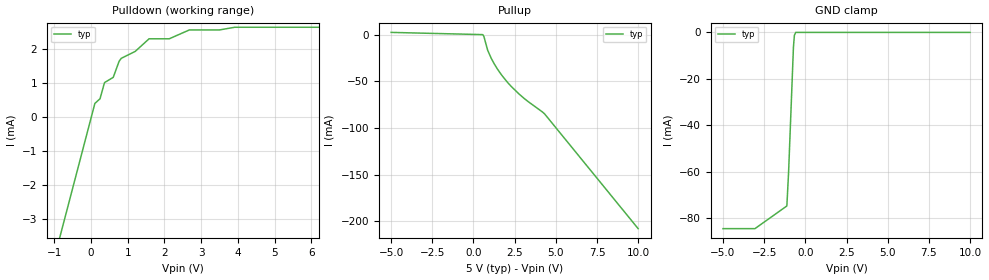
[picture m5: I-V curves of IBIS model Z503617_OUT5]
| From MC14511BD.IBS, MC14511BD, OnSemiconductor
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| (C) COPYRIGHT 1993-2000
| MENTOR GRAPHICS CORPORATION
| ICX STANDARD LIBRARY, ICX PROJECT MODELING,
| ICX CUSTOM MODELING, ICX VENDOR MODEL
| ALL RIGHTS RESERVED.
| THE FOLLOWING ARE TRADEMARKS OR SERVICE MARKS OF
| MENTOR GRAPHICS CORPORATION:ICX (R), ICX STANDARD
| LIBRARY(R), ICX PROJECT MODELING(R), ICX CUSTOM
| MODELING(R), qualityIBIS(TM), MODELVIEWER(TM),
| AND MODELEDITOR(TM)
| ALL COPIES OF SOFTWARE, INCLUDING BUT NOT LIMITED TO
| ANY MODIFICATIONS, ENHANCEMENTS OR DERIVATIVE WORKS,
| MUST CONTAIN ALL MENTOR GRAPHICS CORPORATION'S
| NOTICES AND LEGENDS, INCLUDING THOSE EMBEDDED IN
| SOFTWARE AND THOSE AFFIXED TO SOFTWARE MEDIUM
| AND CONTAINER, AS RECEIVED FROM MENTOR GRAPHICS
| CORPORATION.
| Model Application Version 1.89 2/18/99.
[Model] Z503617_OUT5
Model_type Output
Vref=0.000V
Rref=500.0Mohms
Cref=50.00pF
Vmeas=2.500V
C_comp 8.000pF NA NA
| variable typ   min   max
[Voltage Range] 5.000V NA NA
[POWER Clamp Reference] 5.000V NA NA
[Pullup Reference] 5.000V NA NA
[Pulldown Reference] 0.000V NA NA
[GND Clamp Reference] 0.000V NA NA
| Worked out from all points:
|   slope of the pulldown table from 0 to 0.75 V, typ, clamps not added: 461 ohm
|   slope of the pullup table from 0 to 0.75 V, typ, clamps not added: 76.8 ohm
|   GND clamp passes 1 mA (typ) near -0.65 V on its own axis
[GND Clamp]
-5V       -84.38mA   NA         NA
-3.062V   -84.38mA   NA         NA
-1.123V   -74.62mA   NA         NA
-1.016V   -59.9mA    NA         NA
-722.5mV  -6.233mA   NA         NA
-664.1mV  -1.17mA    NA         NA
-581.1mV  0A         NA         NA
10V       0A         NA         NA
[Pulldown]
-5V       -20.64mA   NA         NA
106.7mV   401.8uA    NA         NA
245.8mV   536uA      NA         NA
369.4mV   1.014mA    NA         NA
606.3mV   1.166mA    NA         NA
825.2mV   1.726mA    NA         NA
1.206V    1.93mA     NA         NA
1.583V    2.3mA      NA         NA
2.132V    2.3mA      NA         NA
2.681V    2.561mA    NA         NA
3.916V    2.639mA    NA         NA
10V       2.639mA    NA         NA
[Pullup]
-5V       2.336mA    NA         NA
585mV     -384.8uA   NA         NA
639mV     -2.414mA   NA         NA
862mV     -16.78mA   NA         NA
1.074V    -25.27mA   NA         NA
1.44V     -36.55mA   NA         NA
1.847V    -46.44mA   NA         NA
2.295V    -55.57mA   NA         NA
2.769V    -63.7mA    NA         NA
4.321V    -85.01mA   NA         NA
10V       -207.9mA   NA         NA
[POWER Clamp]
-5V       0A         NA         NA
10V       0A         NA         NA
[Ramp]
| variable typ min max
dV/dt_r 2.622/22.15n NA NA
dV/dt_f 2.622/31.53n NA NA
R_load = 2.500kOhms
